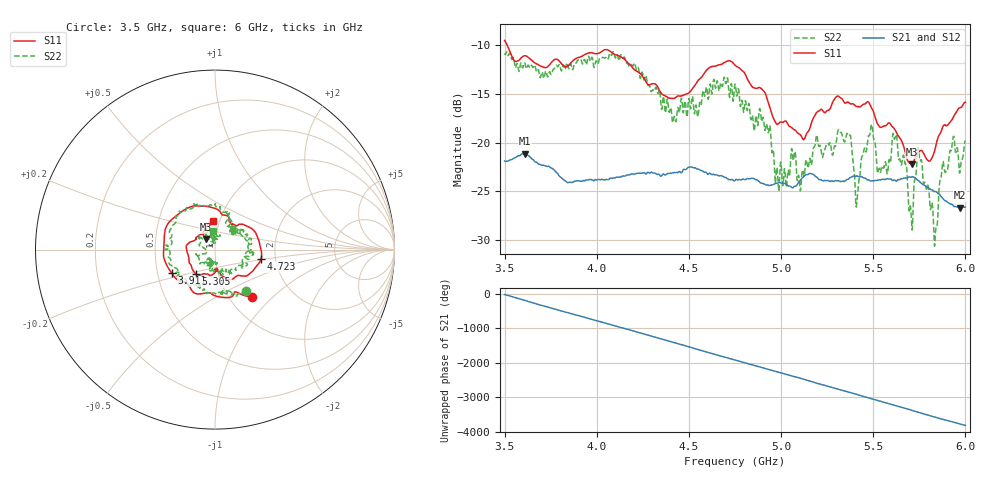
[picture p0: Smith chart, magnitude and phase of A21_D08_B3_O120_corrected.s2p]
! Created with skrf 1.9.0 (http://scikit-rf.org).
# Hz S RI R 50.0
!freq ReS11 ImS11 ReS21 ImS21 ReS12 ImS12 ReS22 ImS22
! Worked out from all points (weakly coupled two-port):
!   1601 points, 3.5 GHz to 6 GHz, reference 50 ohm
!   highest |S21| = -21.15 dB at 3.609 GHz (marker M1); lowest = -26.7 dB at 5.97 GHz (marker M2)
!   lowest |S11| = -22.2 dB at 5.709 GHz (marker M3), VSWR 1.17, Z = 44.8 + j5.23 ohm
!   |S11| at or under -10 dB: 3.514 GHz to end of sweep
!   |S22| runs from -30.6 to -10.7 dB; largest |S21 - S12| = 0.0011
!   S11 on the Smith chart (normalised r, x): 3.5 GHz: 1.27, -0.75; 3.911 GHz: 0.59, -0.17; 4.723 GHz: 1.68, -0.19; 5.305 GHz: 0.78, -0.22; 6 GHz: 0.93, +0.31
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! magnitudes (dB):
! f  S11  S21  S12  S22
! 3.5 GHz  -9.5  -21.9  -21.9  -10.8
! 3.609 GHz  -11.1  -21.1  -21.2  -11.8
! 3.911 GHz  -11.2  -24.0  -23.9  -11.4
! 3.917 GHz  -11.2  -24.0  -24.0  -11.6
! 4.334 GHz  -14.4  -23.3  -23.2  -14.9
! 4.723 GHz  -11.6  -23.8  -23.8  -15.1
! 4.75 GHz  -12.1  -23.9  -23.8  -14.0
! 4.931 GHz  -16.0  -24.4  -24.3  -19.0
! 4.978 GHz  -18.1  -24.2  -24.2  -22.6
! 5.167 GHz  -17.8  -23.2  -23.2  -22.0
! 5.305 GHz  -15.2  -23.9  -23.9  -19.2
! 5.37 GHz  -15.9  -23.7  -23.6  -19.3
! 5.412 GHz  -16.3  -23.4  -23.4  -25.9
! 5.486 GHz  -16.3  -23.9  -23.9  -18.6
! 5.584 GHz  -18.0  -23.7  -23.7  -22.0
! 5.619 GHz  -18.7  -23.9  -23.9  -19.5
! 5.709 GHz  -22.2  -23.5  -23.5  -28.8
! 5.748 GHz  -20.9  -24.0  -24.0  -21.2
! 5.838 GHz  -20.5  -25.0  -25.0  -29.2
! 5.873 GHz  -18.6  -25.6  -25.6  -22.5
! 5.97 GHz  -16.4  -26.7  -26.6  -23.1
! 6 GHz  -15.9  -26.6  -26.6  -19.8
